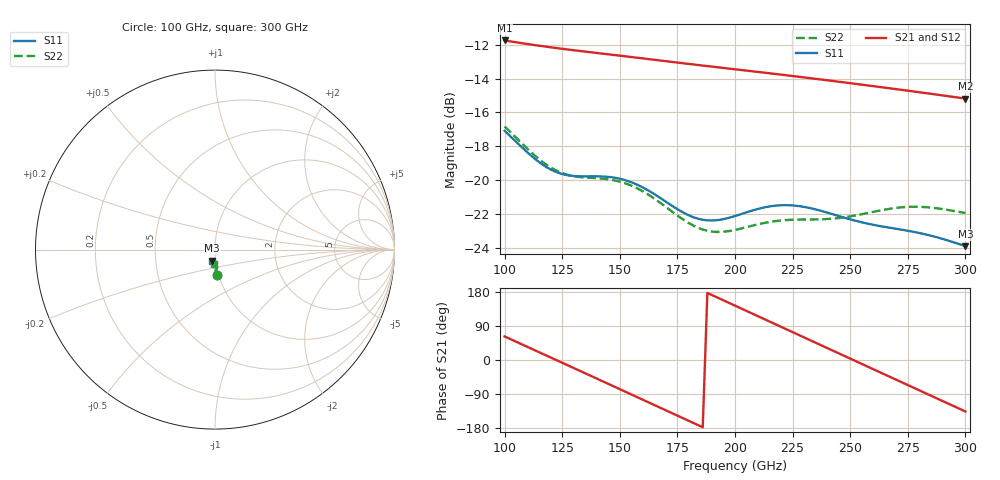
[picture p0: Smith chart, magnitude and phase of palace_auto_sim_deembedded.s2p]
! Created with skrf 1.11.0 (http://scikit-rf.org).
# GHz S DB R 50.0
!freq dBS11 angS11 dBS21 angS21 dBS12 angS12 dBS22 angS22
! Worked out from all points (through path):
!   101 points, 100 GHz to 300 GHz, reference 50 ohm
!   highest |S21| = -11.74 dB at 100 GHz (marker M1); lowest = -15.2 dB at 300 GHz (marker M2)
!   group delay of S21, straight-line fit = 7.75 ps
!   lowest |S11| = -23.9 dB at 300 GHz (marker M3), VSWR 1.14, Z = 48.1 - j5.95 ohm
!   |S11| at or under -10 dB: start of sweep to end of sweep
!   |S22| runs from -23.1 to -16.8 dB; largest |S21 - S12| = 3.8e-13
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100  -17.09 -85.3  -11.74 62.1  -11.74 62.1  -16.83 -86.0
110  -18.37 -87.0  -11.95 34.3  -11.95 34.3  -18.16 -88.4
118  -19.22 -85.8  -12.11 12.2  -12.11 12.2  -19.08 -87.6
126  -19.68 -83.6  -12.25 -10.1  -12.25 -10.1  -19.64 -85.7
134  -19.78 -82.5  -12.38 -32.3  -12.38 -32.3  -19.84 -84.5
144  -19.80 -84.0  -12.54 -60.2  -12.54 -60.2  -19.94 -85.7
152  -19.99 -86.9  -12.67 -82.5  -12.67 -82.5  -20.18 -88.3
160  -20.44 -89.8  -12.80 -104.9  -12.80 -104.9  -20.67 -91.1
168  -21.10 -91.5  -12.93 -127.2  -12.93 -127.2  -21.39 -92.8
176  -21.80 -91.0  -13.07 -149.6  -13.07 -149.6  -22.19 -92.3
184  -22.29 -88.5  -13.19 -171.9  -13.19 -171.9  -22.82 -89.5
192  -22.38 -85.5  -13.32 165.8  -13.32 165.8  -23.07 -85.6
200  -22.13 -83.8  -13.45 143.4  -13.45 143.4  -22.95 -82.6
208  -21.78 -84.3  -13.57 121.1  -13.57 121.1  -22.68 -81.4
216  -21.54 -86.6  -13.70 98.7  -13.70 98.7  -22.46 -81.7
224  -21.49 -89.7  -13.83 76.3  -13.83 76.3  -22.35 -82.6
234  -21.70 -93.5  -14.00 48.4  -14.00 48.4  -22.33 -83.4
250  -22.32 -97.3  -14.27 3.7  -14.27 3.7  -22.15 -83.9
258  -22.59 -98.2  -14.41 -18.7  -14.41 -18.7  -21.94 -84.7
268  -22.84 -99.4  -14.59 -46.6  -14.59 -46.6  -21.68 -87.0
284  -23.26 -102.2  -14.88 -91.2  -14.88 -91.2  -21.62 -92.2
300  -23.91 -104.7  -15.18 -135.8  -15.18 -135.8  -21.95 -95.9
